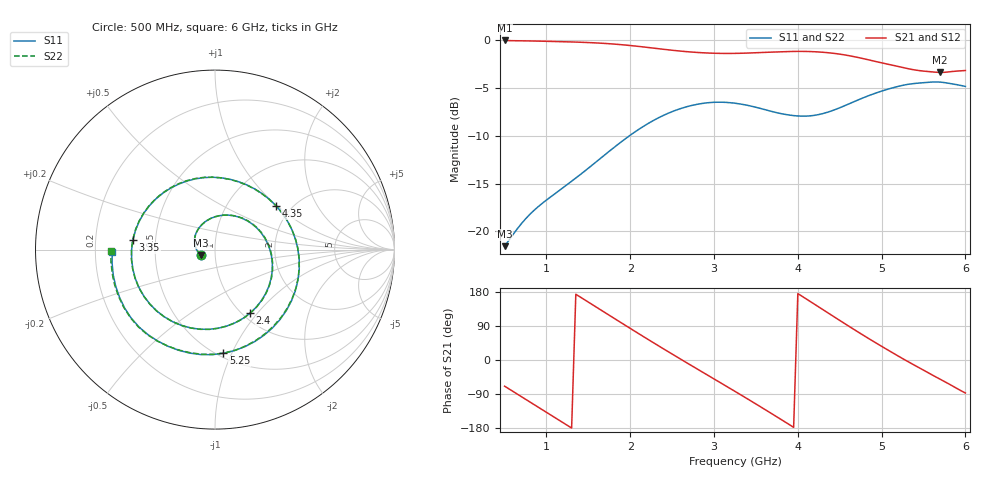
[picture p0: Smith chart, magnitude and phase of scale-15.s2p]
! Touchstone file from project sampleWidthScale-15
! Exported from HFSS-IE 2014.0.2
! Variables:
!  $perm = 6
!  impedance = 157.9ohm
!  insulationThickness = 0in
!  length = 4in
!  portSize = 1mm
!  sampleSide = 1.875in
!  sampleThickness = 0.25in
!  scale = 15
!  spacing = 0.25in
!  wireDiam = 0.125in
!  wireRadius = 0.0625in
# GHZ S MA R 157.900000
! Terminal data exported
! Port[1] = Rectangle2_T1
! Port[2] = Rectangle2_T2
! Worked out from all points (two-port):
!   111 points, 500 MHz to 6 GHz, reference 157.9 ohm
!   highest |S21| = -0.04 dB at 500 MHz (marker M1); lowest = -3.4 dB at 5.7 GHz (marker M2)
!   |S21| within 3 dB of the highest: start of sweep to 5.343 GHz
!   lowest |S11| = -21.5 dB at 500 MHz (marker M3), VSWR 1.18, Z = 135 - j8.18 ohm
!   |S11| at or under -10 dB: start of sweep to 1.991 GHz
!   |S22| runs from -21.5 to -4.3 dB; largest |S21 - S12| = 1.5e-14
!   S11 on the Smith chart (normalised r, x): 500 MHz: 0.85, -0.05; 2.4 GHz: 1.08, -0.92; 3.35 GHz: 0.37, +0.05; 4.35 GHz: 1.68, +0.99; 5.25 GHz: 0.53, -0.93; 6 GHz: 0.27, -0.01
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0.5  0.08367 -158.9  0.9959 -69.1  0.9959 -69.1  0.08374 -159.7
0.75  0.1162 166.5  0.9908 -103.6  0.9908 -103.6  0.1165 165.5
1.05  0.1515 124.8  0.9845 -145.1  0.9845 -145.1  0.1514 124.4
1.25  0.1761 97.0  0.9794 -172.7  0.9794 -172.7  0.1759 96.9
1.45  0.2056 69.1  0.973 159.6  0.973 159.6  0.2052 69.6
1.7  0.252 34.2  0.9606 124.9  0.9606 124.9  0.2521 35.2
1.9  0.2954 6.4  0.9459 97.1  0.9459 97.1  0.2955 7.6
2.1  0.3411 -21.1  0.9269 69.6  0.9269 69.6  0.341 -19.9
2.35  0.3951 -54.7  0.9004 35.7  0.9004 35.7  0.3949 -53.9
2.4  0.4048 -61.4  0.8951 29.0  0.8951 29.0  0.4046 -60.6
2.8  0.4618 -113.9  0.8619 -23.9  0.8619 -23.9  0.4621 -113.8
3.25  0.4678 -173.2  0.8524 -82.8  0.8524 -82.8  0.4688 -173.6
3.35  0.4604 173.3  0.8544 -96.1  0.8544 -96.1  0.4614 173.0
3.8  0.4127 112.0  0.8686 -157.0  0.8686 -157.0  0.415 112.2
4  0.4012 84.2  0.873 175.2  0.873 175.2  0.4013 84.9
4.2  0.4044 56.3  0.8693 147.0  0.8693 147.0  0.4026 57.7
4.35  0.4191 35.3  0.8601 125.7  0.8601 125.7  0.417 37.2
4.7  0.4826 -13.6  0.8146 76.5  0.8146 76.5  0.4795 -11.7
5.1  0.5579 -66.5  0.744 23.1  0.744 23.1  0.5537 -65.0
5.25  0.5799 -85.3  0.7196 3.9  0.7196 3.9  0.5779 -84.3
5.7  0.6031 -140.8  0.6777 -50.9  0.6777 -50.9  0.605 -141.2
6  0.5728 -178.5  0.6935 -87.1  0.6935 -87.1  0.5805 -179.3
